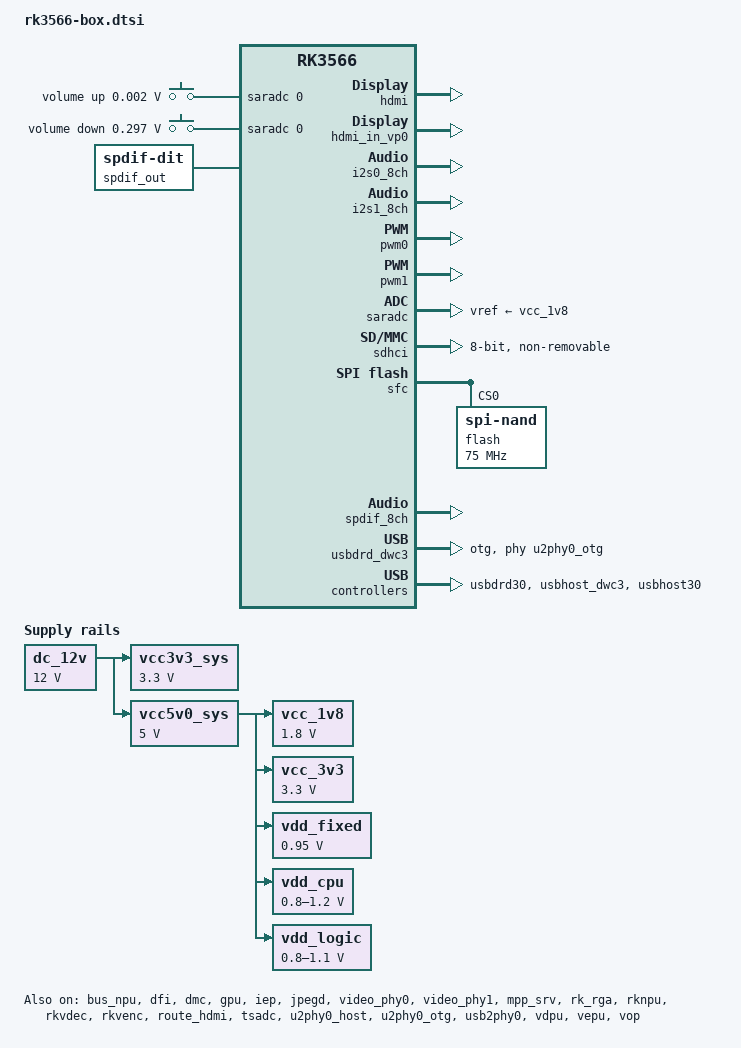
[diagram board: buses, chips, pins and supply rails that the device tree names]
// SPDX-License-Identifier: (GPL-2.0+ OR MIT)
/*
 * Copyright (c) 2021 Rockchip Electronics Co., Ltd.
 *
 */

#include "rk3566.dtsi"
#include <dt-bindings/gpio/gpio.h>
#include <dt-bindings/pinctrl/rockchip.h>
#include <dt-bindings/input/rk-input.h>
#include <dt-bindings/display/drm_mipi_dsi.h>
#include <dt-bindings/sensor-dev.h>

/ {
	adc_keys: adc-keys {
		compatible = "adc-keys";
		io-channels = <&saradc 0>;
		io-channel-names = "buttons";
		keyup-threshold-microvolt = <1800000>;
		poll-interval = <100>;

		vol-up-key {
			label = "volume up";
			linux,code = <KEY_VOLUMEUP>;
			press-threshold-microvolt = <1750>;
		};

		vol-down-key {
			label = "volume down";
			linux,code = <KEY_VOLUMEDOWN>;
			press-threshold-microvolt = <297500>;
		};
	};

	dc_12v: dc-12v {
		compatible = "regulator-fixed";
		regulator-name = "dc_12v";
		regulator-always-on;
		regulator-boot-on;
		regulator-min-microvolt = <12000000>;
		regulator-max-microvolt = <12000000>;
	};

	hdmi_sound: hdmi-sound {
		compatible = "simple-audio-card";
		simple-audio-card,format = "i2s";
		simple-audio-card,mclk-fs = <256>;
		simple-audio-card,name = "hdmi-sound";
		status = "okay";

		simple-audio-card,cpu {
				sound-dai = <&i2s0_8ch>;
		};
		simple-audio-card,codec {
				sound-dai = <&hdmi>;
		};
	};

	reserved-memory {
		#address-cells = <2>;
		#size-cells = <2>;
		ranges;

		rknpu_reserved: rknpu {
			compatible = "shared-dma-pool";
			inactive;
			reusable;
			size = <0x0 0x20000000>;
			alignment = <0x0 0x1000>;
			status = "disabled";
		};
	};

	spdif-sound {
		status = "okay";
		compatible = "simple-audio-card";
		simple-audio-card,name = "ROCKCHIP,SPDIF";
		simple-audio-card,cpu {
				sound-dai = <&spdif_8ch>;
		};
		simple-audio-card,codec {
				sound-dai = <&spdif_out>;
		};
	};

	spdif_out: spdif-out {
			status = "okay";
			compatible = "linux,spdif-dit";
			#sound-dai-cells = <0>;
	};

	vcc3v3_sys: vcc3v3-sys {
		compatible = "regulator-fixed";
		regulator-name = "vcc3v3_sys";
		regulator-always-on;
		regulator-boot-on;
		regulator-min-microvolt = <3300000>;
		regulator-max-microvolt = <3300000>;
		vin-supply = <&dc_12v>;
	};

	vcc5v0_sys: vcc5v0-sys {
		compatible = "regulator-fixed";
		regulator-name = "vcc5v0_sys";
		regulator-always-on;
		regulator-boot-on;
		regulator-min-microvolt = <5000000>;
		regulator-max-microvolt = <5000000>;
		vin-supply = <&dc_12v>;
	};

	vcc_1v8: vcc_1v8 {
		compatible = "regulator-fixed";
		regulator-name = "vcc_1v8";
		regulator-always-on;
		regulator-boot-on;
		regulator-min-microvolt = <1800000>;
		regulator-max-microvolt = <1800000>;
		vin-supply = <&vcc5v0_sys>;
	};

	vcc_3v3: vcc_3v3{
		compatible = "regulator-fixed";
		regulator-name = "vcc_3v3";
		regulator-always-on;
		regulator-boot-on;
		regulator-min-microvolt = <3300000>;
		regulator-max-microvolt = <3300000>;
		vin-supply = <&vcc5v0_sys>;
	};

	vdd_fixed: vdd-fixed {
		compatible = "regulator-fixed";
		regulator-name = "vdd_fixed";
		regulator-min-microvolt = <950000>;
		regulator-max-microvolt = <950000>;
		regulator-always-on;
		regulator-boot-on;
		vin-supply = <&vcc5v0_sys>;
	};

	vdd_cpu: vdd-cpu {
		compatible = "pwm-regulator";
		pwms = <&pwm0 0 5000 1>;
		regulator-name = "vdd_cpu";
		regulator-min-microvolt = <800000>;
		regulator-max-microvolt = <1200000>;
		regulator-init-microvolt = <950000>;
		regulator-always-on;
		regulator-boot-on;
		regulator-settling-time-up-us = <250>;
		pwm-supply = <&vcc5v0_sys>;
		status = "okay";
	};

	vdd_logic: vdd-logic {
		compatible = "pwm-regulator";
		pwms = <&pwm1 0 5000 1>;
		regulator-name = "vdd_logic";
		regulator-min-microvolt = <800000>;
		regulator-max-microvolt = <1100000>;
		regulator-init-microvolt = <950000>;
		regulator-always-on;
		regulator-boot-on;
		regulator-settling-time-up-us = <250>;
		pwm-supply = <&vcc5v0_sys>;
		status = "okay";
	};
};

&bus_npu {
	bus-supply = <&vdd_logic>;
	pvtm-supply = <&vdd_cpu>;
	status = "okay";
};

&cpu0 {
	cpu-supply = <&vdd_cpu>;
};

&dfi {
	status = "okay";
};

&dmc {
	auto-freq-en = <0>;
	center-supply = <&vdd_fixed>;
	status = "okay";
};

&gpu {
	mali-supply = <&vdd_fixed>;
	status = "okay";
};

&gpu_opp_table {
	/delete-node/ opp-800000000;
};

&hdmi {
	status = "okay";
	rockchip,phy-table =
		<92812500  0x8009 0x0000 0x0270>,
		<165000000 0x800b 0x0000 0x026d>,
		<185625000 0x800b 0x0000 0x01ed>,
		<297000000 0x800b 0x0000 0x01ad>,
		<594000000 0x8029 0x0000 0x0088>,
		<000000000 0x0000 0x0000 0x0000>;
};

&hdmi_in_vp0 {
	status = "okay";
};

&hdmi_in_vp1 {
	status = "disabled";
};

&i2s0_8ch {
	status = "okay";
};

&i2s1_8ch {
	status = "okay";
	rockchip,clk-trcm = <1>;
	pinctrl-names = "default";
	pinctrl-0 = <&i2s1m0_sclktx
		     &i2s1m0_lrcktx
		     &i2s1m0_sdi0
		     &i2s1m0_sdo0>;
};

&iep {
	status = "okay";
};

&iep_mmu {
	status = "okay";
};

&jpegd {
	status = "okay";
};

&jpegd_mmu {
	status = "okay";
};

&video_phy0 {
	status = "okay";
};

&video_phy1 {
	status = "okay";
};

&mpp_srv {
	status = "okay";
};

&pwm0 {
	status = "okay";
	pinctrl-names = "active";
};

&pwm1 {
	status = "okay";
	pinctrl-names = "active";
};

&rk_rga {
	status = "okay";
};

&rknpu {
	memory-region = <&rknpu_reserved>;
	rknpu-supply = <&vdd_fixed>;
	status = "okay";
};

&rknpu_mmu {
	status = "disabled";
};

&rkvdec {
	status = "okay";
};

&rkvdec_mmu {
	status = "okay";
};

&rkvenc {
	status = "okay";
};

&rkvenc_mmu {
	status = "okay";
};

&rockchip_suspend {
	status = "okay";
	rockchip,sleep-mode-config = <
		(0
		| RKPM_SLP_CENTER_OFF
		| RKPM_SLP_HW_PLLS_OFF
		| RKPM_SLP_PMUALIVE_32K
		| RKPM_SLP_PMIC_LP
		| RKPM_SLP_32K_PVTM
		)
	>;
	rockchip,wakeup-config = <
		(0
		| RKPM_PWM0_WKUP_EN
		| RKPM_CPU0_WKUP_EN
		)
	>;
};

&route_hdmi {
	status = "okay";
	connect = <&vp0_out_hdmi>;
};

&saradc {
	status = "okay";
	vref-supply = <&vcc_1v8>;
};

&sdhci {
	bus-width = <8>;
	no-sdio;
	no-sd;
	non-removable;
	status = "okay";
};

&sfc {
	status = "okay";

	flash@0 {
		compatible = "spi-nand";
		reg = <0>;
		spi-max-frequency = <75000000>;
		spi-rx-bus-width = <4>;
		spi-tx-bus-width = <1>;
	};
};

&spdif_8ch {
	status = "okay";
};

&tsadc {
	status = "okay";
};

&u2phy0_host {
	status = "okay";
};

&u2phy0_otg {
	status = "okay";
};

&usb2phy0 {
	status = "okay";
};

&u2phy1_host {
	status = "disabled";
};

&u2phy1_otg {
	status = "disabled";
};

&usb2phy1 {
	status = "disabled";
};

&usb_host0_ehci {
	status = "disabled";
};

&usb_host0_ohci {
	status = "disabled";
};

&usb_host1_ehci {
	status = "disabled";
};

&usb_host1_ohci {
	status = "disabled";
};

&usbdrd_dwc3 {
	dr_mode = "otg";
	phys = <&u2phy0_otg>;
	maximum-speed = "high-speed";
	extcon = <&usb2phy0>;
	status = "okay";
};

&usbdrd30 {
	status = "okay";
};

&usbhost_dwc3 {
	status = "okay";
};

&usbhost30 {
	status = "okay";
};

&vdpu {
	status = "okay";
};

&vdpu_mmu {
	status = "okay";
};

&vepu {
	status = "okay";
};

&vepu_mmu {
	status = "okay";
};

&vop {
	status = "okay";
	assigned-clocks = <&cru DCLK_VOP1>;
	assigned-clock-parents = <&cru PLL_VPLL>;
};

&vop_mmu {
	status = "okay";
};


